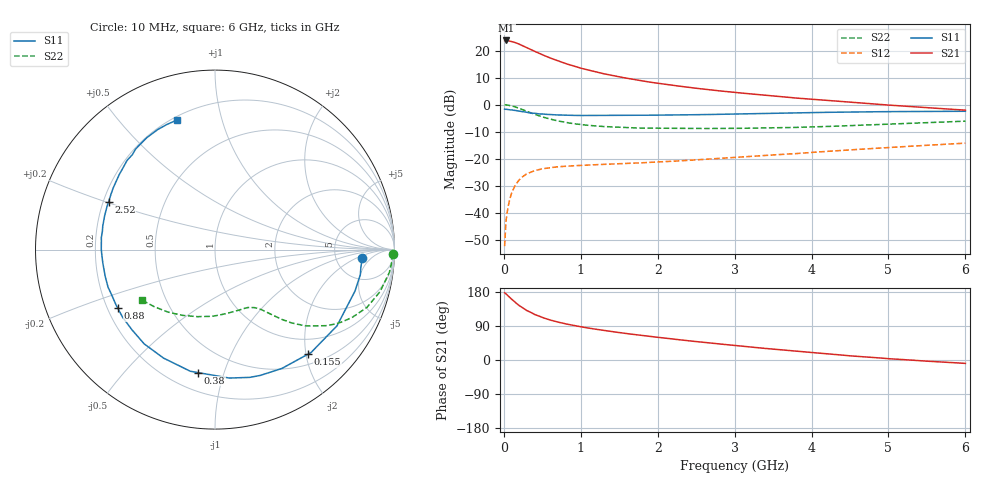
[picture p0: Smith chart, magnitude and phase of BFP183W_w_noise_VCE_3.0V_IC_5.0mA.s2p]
! Infineon Technologies  Discrete & RF Semiconductors
! BFP183W
! VCE = 3.0 V,  IC =  5.0 mA
! Common Emitter S-Parameters:  Jan 2016
# GHz  S  MA  R  50
!  f  S11  S21  S12  S22
! GHz  MAG  ANG  MAG  ANG  MAG  ANG  MAG  ANG
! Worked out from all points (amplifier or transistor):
!   210 points, 10 MHz to 6 GHz, reference 50 ohm
!   highest |S21| = 23.7 dB at 30 MHz (marker M1)
!   |S21| within 3 dB of that: start of sweep to 322.7 MHz
!   unconditionally stable (mu >= 1): 1.777 GHz to 5.819 GHz
!   at 185 MHz: K = 0.15, MSG = 25.5 dB, |S12| = -28.4 dB
!   at 1.52 GHz: K = 0.90, MSG = 16.0 dB, |S12| = -21.9 dB
!   at 6 GHz: K = 0.99, MSG = 6.1 dB, |S12| = -14.3 dB
!   lowest NFmin = 1.15 dB at 450 MHz
!   S11 on the Smith chart (normalised r, x): 10 MHz: 9.47, -2.68; 155 MHz: 0.69, -2.05; 380 MHz: 0.31, -0.82; 880 MHz: 0.24, -0.26; 2.52 GHz: 0.22, +0.20; 6 GHz: 0.22, +0.73
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0.01  0.8221 -3.2  15.33 177.2  0.0024 89.7  0.9925 -1.5
0.03  0.8217 -9.8  15.37 174.2  0.0074 86.4  0.9863 -4.5
0.05  0.8135 -16.5  15.25 170.1  0.0116 82.7  0.9794 -7.5
0.1  0.8015 -32.0  14.71 160.7  0.0228 73.6  0.9488 -14.3
0.155  0.78 -48.2  13.94 150.8  0.0331 65.4  0.8997 -21.4
0.2  0.7599 -60.6  13.12 143.6  0.0405 59.9  0.8535 -26.2
0.26  0.7377 -74.8  12.02 135.6  0.0481 53.3  0.7912 -31.5
0.3  0.7202 -83.6  11.27 130.4  0.0525 50.0  0.7485 -34.5
0.38  0.6917 -97.8  9.972 122.5  0.0583 44.3  0.6775 -38.9
0.4  0.6915 -101.5  9.682 120.2  0.0598 43.0  0.6604 -40.1
0.5  0.669 -115.4  8.354 112.1  0.0648 38.1  0.5917 -43.7
0.6  0.657 -126.9  7.298 105.6  0.068 34.8  0.5392 -46.2
0.7  0.6432 -136.0  6.473 100.2  0.0706 32.8  0.4995 -48.0
0.88  0.6326 -149.0  5.311 92.2  0.0736 30.2  0.4495 -50.5
1.02  0.6287 -156.8  4.64 87.0  0.0752 29.2  0.4243 -52.2
1.5  0.631 -176.7  3.257 72.4  0.0803 29.4  0.3796 -58.0
2.02  0.639 167.8  2.461 59.5  0.0872 32.1  0.3645 -65.4
2.52  0.6501 155.8  1.992 48.3  0.0952 34.8  0.3609 -73.9
3.1  0.673 143.7  1.63 36.5  0.1076 37.1  0.3643 -84.9
4.1  0.7164 126.9  1.229 18.1  0.1334 38.3  0.3894 -107.0
5.1  0.7421 114.5  0.958 2.3  0.1636 36.7  0.4407 -129.1
6  0.7524 106.2  0.789 -9.0  0.1934 33.8  0.4937 -145.0
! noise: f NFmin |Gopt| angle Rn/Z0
0.45  1.15  0.25  40  0.26
0.9  1.2  0.25  93  0.22
1.8  1.95  0.32  170  0.13
